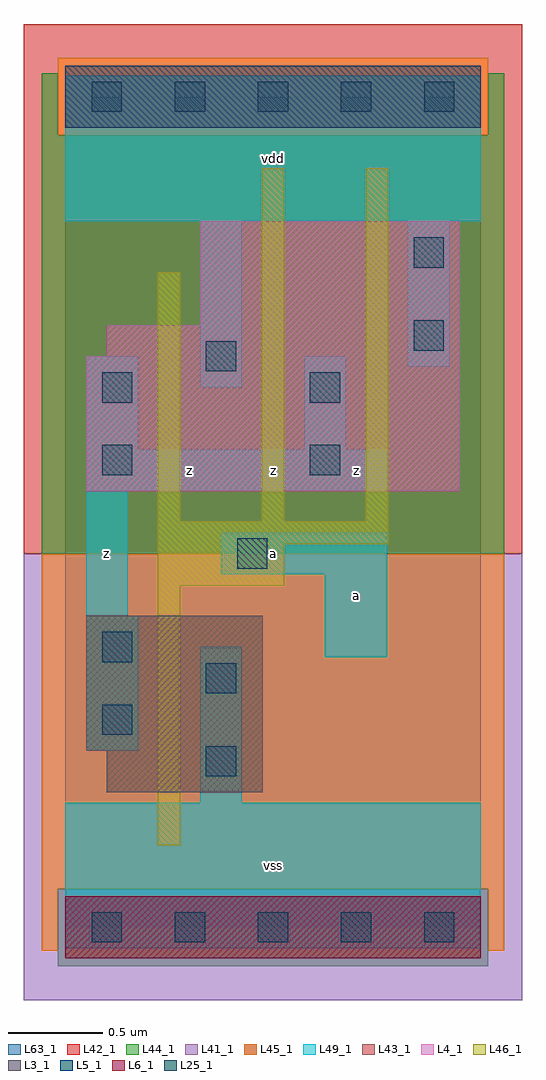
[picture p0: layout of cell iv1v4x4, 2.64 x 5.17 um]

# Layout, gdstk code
import gdstk
lib = gdstk.Library(unit=1e-6, precision=1e-09)
def R(c, l, rs):  # rectangles x0, y0, x1, y1
    for r in rs: c.add(gdstk.rectangle(r[:2], r[2:], *l))
def A(c, l, x, y, w, h, nx, ny, dx, dy):  # array of equal rectangles
    R(c, l, [(x+i*dx, y+j*dy, x+i*dx+w, y+j*dy+h) for i in range(nx) for j in range(ny)])
L3_1 = (3, 1)
L4_1 = (4, 1)
L5_1 = (5, 1)
L6_1 = (6, 1)
L25_1 = (25, 1)
L41_1 = (41, 1)
L42_1 = (42, 1)
L43_1 = (43, 1)
L44_1 = (44, 1)
L45_1 = (45, 1)
L46_1 = (46, 1)
L49_1 = (49, 1)
L63_1 = (63, 1)

iv1v4x4 = lib.new_cell('iv1v4x4')
R(iv1v4x4, L3_1, [(0.22,0.715,1.045,0.935), (0.11,0.935,1.045,1.65)])
R(iv1v4x4, L4_1, [(0.11,2.31,2.09,3.025), (0.22,3.025,2.09,3.19), (0.715,3.19,2.09,3.74)])
R(iv1v4x4, L5_1, [(0,4.235,2.2,4.565)])
R(iv1v4x4, L6_1, [(0,-0.165,2.2,0.165)])
A(iv1v4x4, L25_1, 0.14, -0.08, 0.16, 0.16, 5, 2, 0.44, 4.4)
R(iv1v4x4, L25_1, [(0.745,0.8,0.905,0.96), (0.195,1.02,0.355,1.18), (0.745,1.24,0.905,1.4), (0.195,1.405,0.355,1.565), (0.91,1.9,1.07,2.06), (0.195,2.395,0.355,2.555), (1.295,2.395,1.455,2.555), (0.195,2.78,0.355,2.94), (1.295,2.78,1.455,2.94), (0.745,2.945,0.905,3.105), (1.845,3.055,2.005,3.215), (1.845,3.495,2.005,3.655)])
R(iv1v4x4, L41_1, [(-0.22,-0.385,2.42,1.98)])
R(iv1v4x4, L42_1, [(-0.22,1.98,2.42,4.785)])
R(iv1v4x4, L43_1, [(0,-0.165,2.2,0.165), (0.22,0.715,1.045,0.935), (0.11,0.935,1.045,1.65), (0.11,2.31,2.09,3.025), (0.22,3.025,2.09,3.19), (0.715,3.19,2.09,3.74), (0,4.235,2.2,4.565)])
R(iv1v4x4, L44_1, [(-0.04,-0.205,2.24,0.205), (-0.125,1.98,2.325,4.195), (-0.125,4.195,-0.04,4.525), (2.24,4.195,2.325,4.525)])
R(iv1v4x4, L45_1, [(-0.125,-0.125,-0.04,0.205), (2.24,-0.125,2.325,0.205), (-0.125,0.205,2.325,1.98), (-0.04,4.195,2.24,4.605)])
R(iv1v4x4, L46_1, [(0.49,0.435,0.61,1.81), (0.49,1.81,1.16,2.03), (0.49,2.03,1.71,2.15), (0.49,2.15,0.61,3.47), (1.04,2.15,1.16,4.02), (1.59,2.15,1.71,4.02)])
R(iv1v4x4, L49_1, [(0,-0.11,2.2,0.66), (0.715,0.66,0.935,1.485), (0.11,0.935,0.385,1.65), (1.375,1.43,1.705,1.87), (0.11,1.65,0.33,2.31), (0.825,1.87,1.705,2.09), (0.11,2.31,1.705,2.53), (0.11,2.53,0.385,3.025), (1.265,2.53,1.485,3.025), (0.715,2.86,0.935,3.74), (1.815,2.97,2.035,3.74), (0,3.74,2.2,4.51)])
R(iv1v4x4, L63_1, [(0,0,2.2,4.4)])
iv1v4x4.add(gdstk.Label('z', (0.22,1.98), layer=49, texttype=1))
iv1v4x4.add(gdstk.Label('z', (0.66,2.42), layer=49, texttype=1))
iv1v4x4.add(gdstk.Label('vss', (1.1,0.33), layer=49, texttype=1))
iv1v4x4.add(gdstk.Label('a', (1.1,1.98), layer=49, texttype=1))
iv1v4x4.add(gdstk.Label('a', (1.54,1.76), layer=49, texttype=1))
iv1v4x4.add(gdstk.Label('z', (1.54,2.42), layer=49, texttype=1))
iv1v4x4.add(gdstk.Label('z', (1.1,2.42), layer=49, texttype=1))
iv1v4x4.add(gdstk.Label('vdd', (1.1,4.07), layer=49, texttype=1))

lib.write_gds('iv1v4x4.gds')
